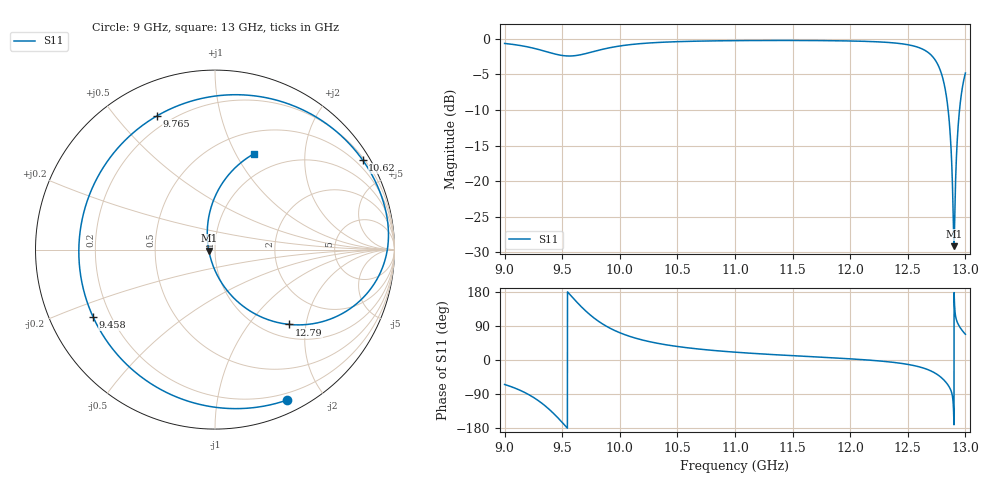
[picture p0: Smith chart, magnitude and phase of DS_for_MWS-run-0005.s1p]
! TOUCHSTONE file generated by CST DESIGN STUDIO
! Date and time: Tue Feb  4 17:26:08 2025
! Project name: C:\Work\MatlabApps\UnitCellOptimizationMatlab\CST\unitcell.cst
! Tree item: Tasks\Sweep1\SPara1\S-Parameters
! Header version: 2024
! Port assignment regex: !\s*Touchstone port\s*([0-9]+)\s*=\s*(CST MWS port|CST DES external port|CST DES block port)\s*(.+)\s* \(\"(.*)\"\)(\s*mode\s*([0-9]+))?.*
! Touchstone port assignment:
! Touchstone port 1 = CST DES external port 1 ("")
# GHz S MA R 50
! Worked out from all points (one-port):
!   4001 points, 9 GHz to 13 GHz, reference 50 ohm
!   lowest |S11| = -29.2 dB at 12.9 GHz (marker M1), VSWR 1.07, Z = 46.7 - j0.514 ohm
!   |S11| at or under -10 dB: 12.85 GHz to 12.95 GHz (98.62 MHz wide, 0.765 % of centre)
!   S11 on the Smith chart (normalised r, x): 9 GHz: 0.13, -1.58; 9.458 GHz: 0.13, -0.25; 9.765 GHz: 0.15, +0.65; 10.62 GHz: 0.26, +3.56; 12.79 GHz: 1.26, -1.61; 13 GHz: 0.74, +1.19
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9  0.9293 -64.5
9.129  0.9004 -79.2
9.268  0.8536 -102.1
9.364  0.813 -124.1
9.458  0.776 -151.2
9.5  0.7648 -164.8
9.615  0.7631 156.6
9.691  0.7838 133.1
9.765  0.8121 113.5
9.868  0.8517 91.9
10  0.8918 71.9
10.217  0.9317 51.2
10.5  0.9565 35.6
10.615  0.9622 31.2
11  0.9724 20.7
11.5  0.9752 11.4
12  0.9672 3.1
12.5  0.9105 -11.6
12.67  0.8102 -24.9
12.787  0.5864 -45.3
12.85  0.3178 -66.4
12.869  0.209 -76.4
12.889  0.08625 -98.3
12.901  0.03486 -170.9
12.913  0.089 119.0
12.932  0.2109 97.9
12.949  0.3167 88.2
13  0.5752 68.0
